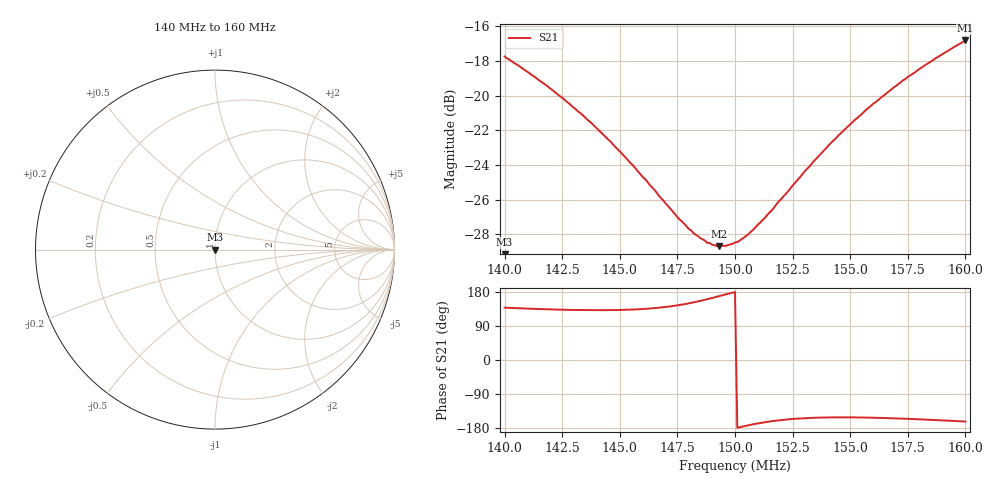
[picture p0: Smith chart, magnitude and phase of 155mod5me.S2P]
!Agilent Technologies,E5072A,MY51200456,A.01.14
!Date: Tue Nov 19 12:31:34 2019
!Data & Calibration Information:
!Freq	S11:NONE(--)	S21:NONE(--)	S12:NONE(--)	S22:NONE(--)
!PortZ  Port1:50+j0  Port2:50+j0
!Above PortZ is port z conversion or system Z0 setting when saving the data.
!When reading, reference impedance value at option line is always used.
# Hz S RI R 50
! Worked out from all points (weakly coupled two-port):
!   201 points, 140 MHz to 160 MHz, reference 50 ohm
!   highest |S21| = -16.82 dB at 160 MHz (marker M1); lowest = -28.7 dB at 149.3 MHz (marker M2)
!   lowest |S11| = - dB at 140 MHz (marker M3), VSWR 1.00, Z = 50 + j0 ohm
!   |S11| at or under -10 dB: start of sweep to end of sweep
!   S12 and S22 are empty: the file has one direction only
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1.4e8  0 0  -0.0965 0.0866  0 0  0 0
1.418e8  0 0  -0.0744 0.0772  0 0  0 0
1.434e8  0 0  -0.0582 0.0655  0 0  0 0
1.446e8  0 0  -0.049 0.055  0 0  0 0
1.451e8  0 0  -0.0457 0.0503  0 0  0 0
1.461e8  0 0  -0.0406 0.0406  0 0  0 0
1.467e8  0 0  -0.0382 0.0343  0 0  0 0
1.475e8  0 0  -0.0362 0.0261  0 0  0 0
1.482e8  0 0  -0.0353 0.019  0 0  0 0
1.488e8  0 0  -0.0355 0.0125  0 0  0 0
1.493e8  0 0  -0.036 0.00735  0 0  0 0
1.496e8  0 0  -0.0366 0.00435  0 0  0 0
1.5e8  0 0  -0.0377 0.000276  0 0  0 0
1.502e8  0 0  -0.0381 -0.00168  0 0  0 0
1.508e8  0 0  -0.0403 -0.00753  0 0  0 0
1.516e8  0 0  -0.0442 -0.015  0 0  0 0
1.534e8  0 0  -0.0572 -0.0296  0 0  0 0
1.541e8  0 0  -0.0635 -0.0345  0 0  0 0
1.552e8  0 0  -0.0748 -0.0405  0 0  0 0
1.567e8  0 0  -0.0923 -0.0458  0 0  0 0
1.58e8  0 0  -0.1094 -0.0476  0 0  0 0
1.6e8  0 0  -0.1375 -0.0435  0 0  0 0
